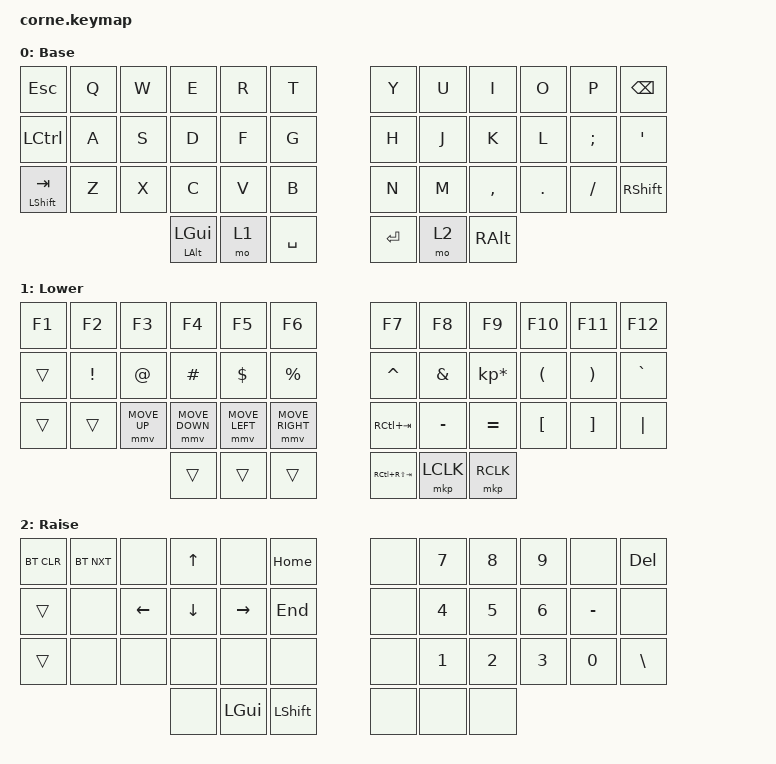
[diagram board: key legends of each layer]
/*
 * Copyright (c) 2020 The ZMK Contributors
 *
 * SPDX-License-Identifier: MIT
 */

#include <behaviors.dtsi>
#include <dt-bindings/zmk/keys.h>
#include <dt-bindings/zmk/bt.h>
#include <dt-bindings/zmk/mouse.h>
#include <behaviors/mouse_keys.dtsi>
#include <dt-bindings/zmk/outputs.h>

&mt {
    tapping-term-ms = <200>;
};


/ {
        keymap {
                compatible = "zmk,keymap";

                default_layer {
// -----------------------------------------------------------------------------------------
// |  TAB |  Q  |  W  |  E  |  R  |  T  |   |  Y  |  U   |  I  |  O  |  P  | BKSP |
// | CTRL |  A  |  S  |  D  |  F  |  G  |   |  H  |  J   |  K  |  L  |  ;  |  '   |
// | SHFT |  Z  |  X  |  C  |  V  |  B  |   |  N  |  M   |  ,  |  .  |  /  | ESC  |
//                    | GUI | LWR | SPC |   | ENT | RSE  | ALT |
                        display-name = "Base";
                        bindings = <
   &kp ESC       &kp Q &kp W &kp E &kp R &kp T   &kp Y &kp U  &kp I     &kp O   &kp P    &kp BSPC
   &kp LCTRL     &kp A &kp S &kp D &kp F &kp G   &kp H &kp J  &kp K     &kp L   &kp SEMI &kp SQT
   &mt LSHFT TAB &kp Z &kp X &kp C &kp V &kp B   &kp N &kp M  &kp COMMA &kp DOT &kp FSLH &kp RSHFT
                &mt LALT LGUI &mo 1 &kp SPACE   &kp RET &mo 2 &kp RALT
                        >;
                };

                lower_layer {
// -----------------------------------------------------------------------------------------
// |  TAB |  1  |  2  |  3  |  4  |  5  |   |  6  |  7  |  8  |  9  |  0  | BKSP |
// | BTCLR| BT1 | BT2 | BT3 | BT4 | BT5 |   | LFT | DWN |  UP | RGT |     |      |
// | SHFT |     |     |     |     |     |   |     |     |     |     |     |      |
//                    | GUI |     | SPC |   | ENT |     | ALT |
                        display-name = "Lower";
                        bindings = <

&kp F1     &kp F2           &kp F3            &kp F4            &kp F5       &kp F6                       &kp F7         &kp F8        &kp F9          &kp F10   &kp F11   &kp F12
&trans	   &kp EXCL         &kp AT            &kp HASH          &kp DOLLAR   &kp PRCNT                    &kp CARET      &kp AMPS      &kp KP_MULTIPLY &kp LPAR  &kp RPAR  &kp GRAVE
&trans     &trans           &mmv MOVE_UP      &mmv MOVE_DOWN    &mmv MOVE_LEFT &mmv MOVE_RIGHT            &kp RC(TAB)    &kp MINUS     &kp EQUAL       &kp LBKT  &kp RBKT  &kp PIPE
                                                             &trans &trans &trans                         &kp RC(RS(TAB)) &mkp LCLK &mkp RCLK    
                        >;
                };

                raise_layer {
// -----------------------------------------------------------------------------------------
// |  TAB |  !  |  @  |  #  |  $  |  %  |   |  ^  |  &  |  *  |  (  |  )  | BKSP |
// | CTRL |     |     |     |     |     |   |  -  |  =  |  [  |  ]  |  \  |  `   |
// | SHFT |     |     |     |     |     |   |  _  |  +  |  {  |  }  | "|" |  ~   |
//                    | GUI |     | SPC |   | ENT |     | ALT |
                        display-name = "Raise";
                        bindings = <
&bt BT_CLR   &bt BT_NXT  &none     &kp UP      &none       &kp HOME        &none            &kp N7    &kp N8   &kp N9   &none    &kp DEL
&trans     &none  &kp LEFT  &kp DOWN    &kp RIGHT   &kp END         &none            &kp N4    &kp N5   &kp N6   &kp MINUS    &none
&trans     &none  &none     &none       &none       &none           &none            &kp N1    &kp N2   &kp N3   &kp N0    &kp BSLH
                    	   &none    &kp LGUI       &kp LSHFT       &none     &none    &none
                        >;
                };
        };
};
